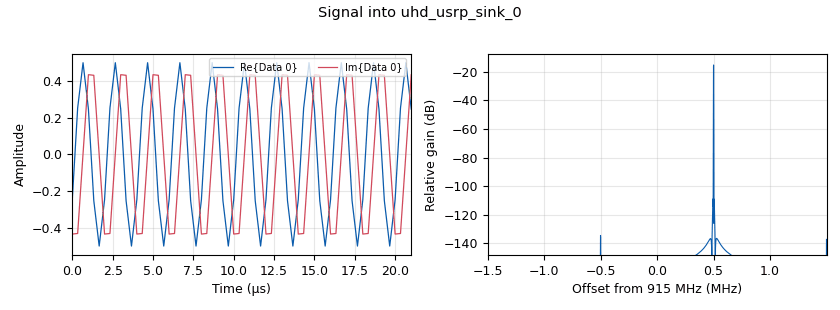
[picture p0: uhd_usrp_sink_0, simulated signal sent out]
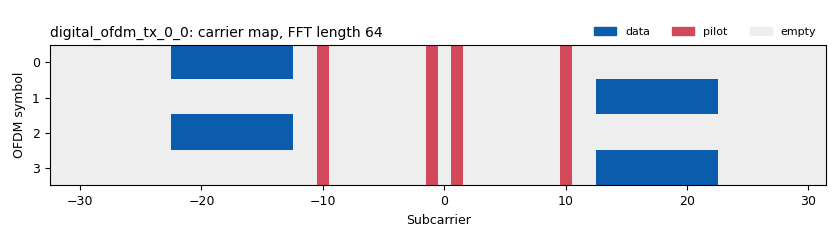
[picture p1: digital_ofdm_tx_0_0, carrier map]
options:
  parameters:
    author: MR
    description: Continuously running transmitter with various parameters that can be remotely configured
    generate_options: no_gui
    id: Tx_general
    output_language: python
    run_options: run
    title: Pi transmitter Script
  states: {}

blocks:
- name: fft_len
  id: variable
  parameters:
    value: '64'
  states: {}
- name: len_tag_key
  id: variable
  parameters:
    value: packet_len
  states: {}
- name: occupied_carriers
  id: variable
  parameters:
    value: (list(range(-22, -12)),list(range(13, 23)))
  states: {}
- name: packet_len
  id: variable
  parameters:
    value: '50'
  states: {}
- name: pilot_carriers
  id: variable
  parameters:
    value: ((-10,-1,1,10),)
  states: {}
- name: pilot_symbols
  id: variable
  parameters:
    value: ((-1,1,1,-1),)
  states: {}
- name: sig_select
  id: variable_qtgui_chooser
  parameters:
    label: Signal select
    label0: No Signal
    label1: Tone
    label2: OFDM
    num_opts: '3'
    option0: '0'
    option1: '1'
    option2: '2'
    type: int
    value: '0'
  states: {state: disabled}
- name: sync_word1
  id: variable
  parameters:
    value: '[0., 0., 0., 0., 0., 0., 0., 1.41421356, 0., -1.41421356, 0., 1.41421356, 0., -1.41421356, 0., -1.41421356, 0., -1.41421356, 0., 1.41421356, 0., -1.41421356, 0., 1.41421356, 0., -1.41421356, 0., -1.41421356, 0., -1.41421356, 0., -1.41421356, 0., 1.41421356, 0., -1.41421356, 0., 1.41421356, 0., 1.41421356, 0., 1.41421356, 0., -1.41421356, 0., 1.41421356, 0., 1.41421356, 0., 1.41421356, 0., -1.41421356, 0., 1.41421356, 0., 1.41421356, 0., 1.41421356, 0., 0., 0., 0., 0., 0.]'
  states: {}
- name: sync_word2
  id: variable
  parameters:
    value: '[0j, 0j, 0j, 0j, 0j, 0j, (-1+0j), (-1+0j), (-1+0j), (-1+0j), (1+0j), (1+0j), (-1+0j), (-1+0j), (-1+0j), (1+0j), (-1+0j), (1+0j), (1+0j), (1 +0j), (1+0j), (1+0j), (-1+0j), (-1+0j), (-1+0j), (-1+0j), (-1+0j), (1+0j), (-1+0j), (-1+0j), (1+0j), (-1+0j), 0j, (1+0j), (-1+0j), (1+0j), (1+0j), (1+0j), (-1+0j), (1+0j), (1+0j), (1+0j), (-1+0j), (1+0j), (1+0j), (1+0j), (1+0j), (-1+0j), (1+0j), (-1+0j), (-1+0j), (-1+0j), (1+0j), (-1+0j), (1+0j), (-1+0j), (-1+0j), (-1+0j), (-1+0j), 0j, 0j, 0j, 0j, 0j]'
  states: {}
- name: analog_const_source_x_0
  id: analog_const_source_x
  parameters:
    const: '0'
    type: complex
  states: {}
- name: analog_random_source_x_0
  id: analog_random_source_x
  parameters:
    max: '255'
    min: '0'
    num_samps: '10000'
    repeat: 'True'
    type: byte
  states: {}
- name: analog_sig_source_x_0
  id: analog_sig_source_x
  parameters:
    amp: tone_amp
    freq: tone_freq
    offset: '0'
    phase: '0'
    samp_rate: samp_rate
    type: complex
    waveform: analog.GR_COS_WAVE
  states: {}
- name: blocks_multiply_const_vxx_0
  id: blocks_multiply_const_vxx
  parameters:
    const: ofdm_scale
    type: complex
  states: {}
- name: blocks_selector_0
  id: blocks_selector
  parameters:
    enabled: 'True'
    input_index: sig_select
    num_inputs: '3'
    num_outputs: '1'
    output_index: '0'
    type: complex
  states: {}
- name: blocks_stream_to_tagged_stream_0
  id: blocks_stream_to_tagged_stream
  parameters:
    len_tag_key: '"packet_len"'
    packet_len: packet_len
    type: byte
  states: {}
- name: blocks_throttle_0
  id: blocks_throttle
  parameters:
    samples_per_second: samp_rate
    type: complex
  states: {state: disabled}
- name: digital_ofdm_tx_0_0
  id: digital_ofdm_tx
  parameters:
    cp_len: fft_len//4
    fft_len: '64'
    header_mod: '"BPSK"'
    occupied_carriers: occupied_carriers
    packet_len_key: packet_len
    payload_mod: '"BPSK"'
    pilot_carriers: pilot_carriers
    pilot_symbols: pilot_symbols
    rolloff: '0'
    sync_word1: None
    sync_word2: None
  states: {}
- name: fc
  id: parameter
  parameters:
    label: Center Frequency
    short_id: c
    type: eng_float
    value: 915e6
  states: {}
- name: node
  id: parameter
  parameters:
    label: Node Number
    short_id: n
    type: str
    value: '101'
  states: {}
- name: ofdm_scale
  id: parameter
  parameters:
    label: OFDM Scaling Factor
    short_id: m
    type: eng_float
    value: '0.1'
  states: {}
- name: qtgui_sink_x_0
  id: qtgui_sink_x
  parameters:
    bw: samp_rate
    fc: '0'
    fftsize: '1024'
    type: complex
    wintype: firdes.WIN_BLACKMAN_hARRIS
  states: {state: disabled}
- name: samp_rate
  id: parameter
  parameters:
    label: Sample Rate
    short_id: r
    type: eng_float
    value: 3e6
  states: {}
- name: sig_select
  id: parameter
  parameters:
    label: Signal Select
    short_id: s
    type: intx
    value: '1'
  states: {}
- name: tone_amp
  id: parameter
  parameters:
    label: Signal Amplitude (tone)
    short_id: a
    type: eng_float
    value: '0.5'
  states: {}
- name: tone_freq
  id: parameter
  parameters:
    label: Tone Frequency (Relative to fc)
    short_id: f
    type: eng_float
    value: 0.5e6
  states: {}
- name: tx_gain
  id: parameter
  parameters:
    label: Transmitter Gain
    short_id: g
    type: eng_float
    value: '40'
  states: {}
- name: uhd_usrp_sink_0
  id: uhd_usrp_sink
  parameters:
    ant0: TX/RX
    center_freq0: fc
    dev_args: '""'
    gain0: tx_gain
    len_tag_name: ''
    norm_gain0: 'False'
    samp_rate: samp_rate
    sync: none
    type: fc32
  states: {}
- name: virtual_sink_0
  id: virtual_sink
  parameters:
    stream_id: sig_ofdm
  states: {}
- name: virtual_sink_0_0
  id: virtual_sink
  parameters:
    stream_id: sig_tone
  states: {}
- name: virtual_source_0
  id: virtual_source
  parameters:
    stream_id: sig_tone
  states: {}
- name: virtual_source_0_0
  id: virtual_source
  parameters:
    stream_id: sig_ofdm
  states: {}
- name: xmlrpc_server_0
  id: xmlrpc_server
  parameters:
    addr: '"10.1.1." + node'
    port: '8080'
  states: {}

connections:
- [analog_const_source_x_0, '0', blocks_selector_0, '0']
- [analog_random_source_x_0, '0', blocks_stream_to_tagged_stream_0, '0']
- [analog_sig_source_x_0, '0', virtual_sink_0_0, '0']
- [blocks_multiply_const_vxx_0, '0', virtual_sink_0, '0']
- [blocks_selector_0, '0', blocks_throttle_0, '0']
- [blocks_selector_0, '0', uhd_usrp_sink_0, '0']
- [blocks_stream_to_tagged_stream_0, '0', digital_ofdm_tx_0_0, '0']
- [blocks_throttle_0, '0', qtgui_sink_x_0, '0']
- [digital_ofdm_tx_0_0, '0', blocks_multiply_const_vxx_0, '0']
- [virtual_source_0, '0', blocks_selector_0, '1']
- [virtual_source_0_0, '0', blocks_selector_0, '2']

metadata:
  file_format: 1
